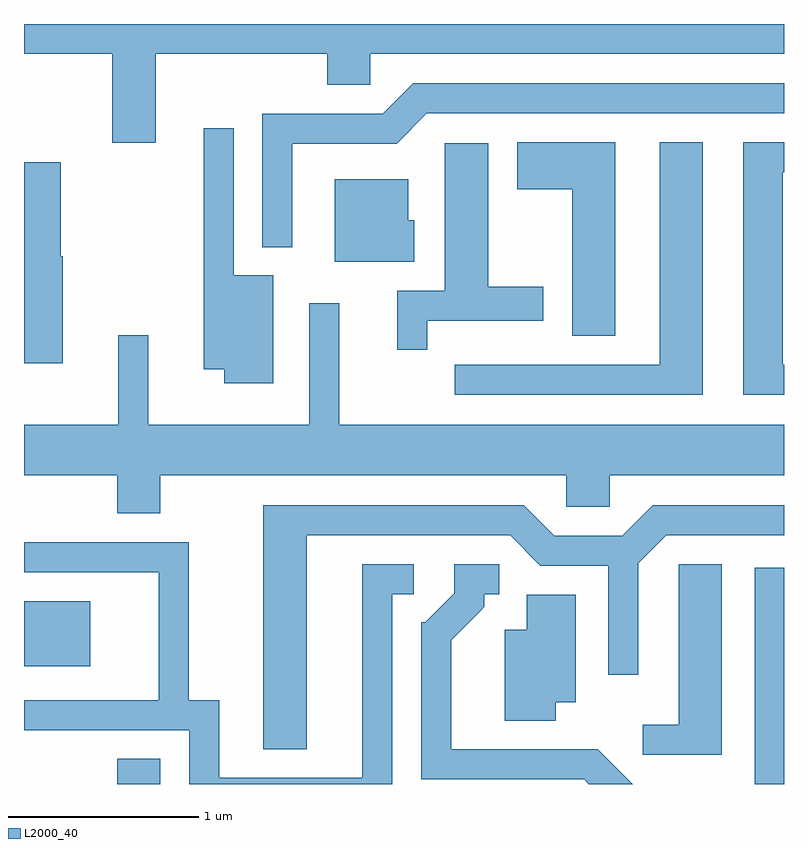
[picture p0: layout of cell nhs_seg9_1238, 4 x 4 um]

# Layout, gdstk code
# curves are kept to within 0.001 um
import gdstk
lib = gdstk.Library(unit=1e-6, precision=1e-09)
def R(c, l, rs):  # rectangles x0, y0, x1, y1
    for r in rs: c.add(gdstk.rectangle(r[:2], r[2:], *l))
def P(c, l, *ps):  # polygons
    for p in ps: c.add(gdstk.Polygon(p, *l))
L2000_40 = (2000, 40)

nhs_seg9_1238 = lib.new_cell('nhs_seg9_1238')
R(nhs_seg9_1238, L2000_40, [(222.101,1972.432,222.329,1972.564), (225.456,1972.432,225.611,1973.569), (221.611,1973.051,221.959,1973.394)])
P(nhs_seg9_1238, L2000_40, [(222.304,1976.276),(223.206,1976.276),(223.206,1976.111),(223.434,1976.111),(223.434,1976.276),(225.611,1976.276),(225.611,1976.432),(221.611,1976.432),(221.611,1976.276),(222.076,1976.276),(222.076,1975.806),(222.304,1975.806)],
  [(223.024,1975.801),(223.572,1975.801),(223.732,1975.961),(225.611,1975.961),(225.611,1976.119),(223.659,1976.119),(223.499,1975.959),(222.866,1975.959),(222.866,1975.258),(223.024,1975.258)],
  [(222.924,1975.109),(222.714,1975.109),(222.714,1975.883),(222.556,1975.883),(222.556,1974.616),(222.666,1974.616),(222.666,1974.541),(222.924,1974.541)],
  [(225.611,1974.639),(225.604,1974.639),(225.604,1975.651),(225.611,1975.651),(225.611,1975.809),(225.396,1975.809),(225.396,1974.481),(225.611,1974.481)],
  [(224.724,1975.809),(224.206,1975.809),(224.206,1975.561),(224.496,1975.561),(224.496,1974.791),(224.724,1974.791)],
  [(225.184,1975.809),(224.956,1975.809),(224.956,1974.639),(223.878,1974.639),(223.878,1974.481),(225.184,1974.481)],
  [(223.734,1974.871),(224.344,1974.871),(224.344,1975.049),(224.054,1975.049),(224.054,1975.804),(223.826,1975.804),(223.826,1975.029),(223.576,1975.029),(223.576,1974.718),(223.734,1974.718)],
  [(221.814,1975.21),(221.804,1975.21),(221.804,1975.704),(221.611,1975.704),(221.611,1974.646),(221.814,1974.646)],
  [(223.664,1975.399),(223.634,1975.399),(223.634,1975.614),(223.246,1975.614),(223.246,1975.181),(223.664,1975.181)],
  [(222.329,1974.056),(224.466,1974.056),(224.466,1973.891),(224.694,1973.891),(224.694,1974.056),(225.611,1974.056),(225.611,1974.324),(223.269,1974.324),(223.269,1974.963),(223.111,1974.963),(223.111,1974.324),(222.264,1974.324),(222.264,1974.793),(222.106,1974.793),(222.106,1974.324),(221.611,1974.324),(221.611,1974.056),(222.101,1974.056),(222.101,1973.856),(222.329,1973.856)],
  [(223.099,1973.741),(224.169,1973.741),(224.329,1973.581),(224.686,1973.581),(224.686,1973.008),(224.844,1973.008),(224.844,1973.594),(224.992,1973.741),(225.611,1973.741),(225.611,1973.899),(224.919,1973.899),(224.759,1973.739),(224.402,1973.739),(224.242,1973.899),(222.871,1973.899),(222.871,1972.616),(223.099,1972.616)],
  [(223.549,1973.431),(223.663,1973.431),(223.663,1973.589),(223.391,1973.589),(223.391,1972.464),(222.639,1972.464),(222.639,1972.874),(222.479,1972.874),(222.479,1973.704),(221.611,1973.704),(221.611,1973.546),(222.321,1973.546),(222.321,1972.874),(221.611,1972.874),(221.611,1972.716),(222.481,1972.716),(222.481,1972.432),(223.549,1972.432)],
  [(225.284,1973.589),(225.056,1973.589),(225.056,1972.744),(224.868,1972.744),(224.868,1972.586),(225.284,1972.586)],
  [(224.632,1972.614),(223.859,1972.614),(223.859,1973.189),(224.034,1973.364),(224.034,1973.431),(224.113,1973.431),(224.113,1973.589),(223.876,1973.589),(223.876,1973.437),(223.724,1973.284),(223.701,1973.284),(223.701,1972.456),(224.559,1972.456),(224.583,1972.432),(224.814,1972.432)],
  [(224.409,1972.861),(224.514,1972.861),(224.514,1973.429),(224.256,1973.429),(224.256,1973.244),(224.141,1973.244),(224.141,1972.766),(224.409,1972.766)])

lib.write_gds('nhs_seg9_1238.gds')
